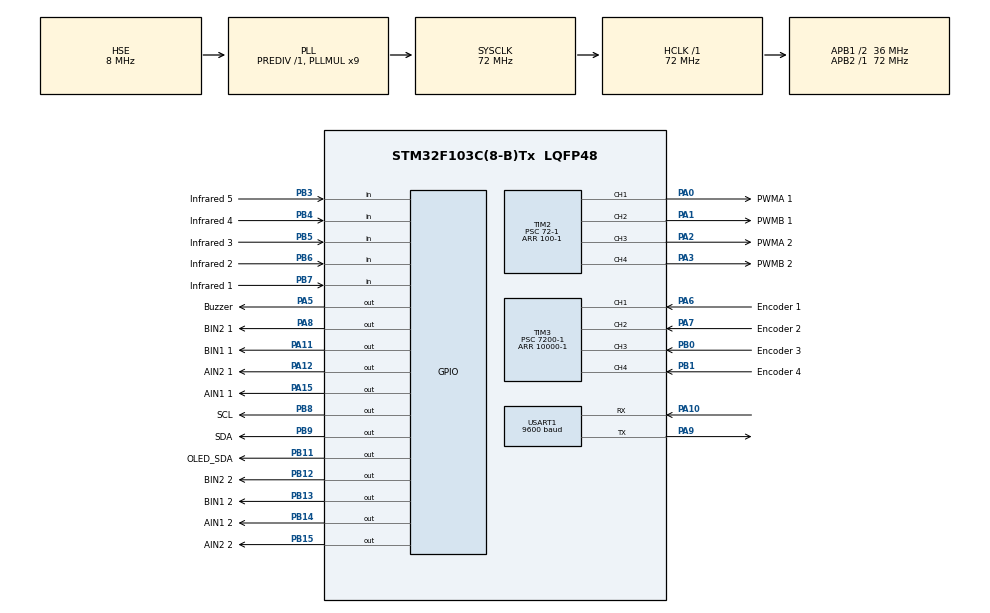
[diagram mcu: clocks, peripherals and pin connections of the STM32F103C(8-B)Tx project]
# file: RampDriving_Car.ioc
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Mcu.Family=STM32F1
Mcu.Name=STM32F103C(8-B)Tx
Mcu.Package=LQFP48
NVIC.PriorityGroup=NVIC_PRIORITYGROUP_4
NVIC.TIM3_IRQn=true\:0\:0\:false\:false\:true\:true\:true\:true
NVIC.USART1_IRQn=true\:0\:0\:false\:false\:true\:true\:true\:true
PA0-WKUP.GPIO_Label=PWMA 1
PA0-WKUP.Signal=S_TIM2_CH1_ETR
PA1.GPIO_Label=PWMB 1
PA1.Signal=S_TIM2_CH2
PA10.Mode=Asynchronous
PA10.Signal=USART1_RX
PA11.GPIO_Label=BIN1 1
PA11.Signal=GPIO_Output
PA12.GPIO_Label=AIN2 1
PA12.Signal=GPIO_Output
PA13.Mode=Serial_Wire
PA13.Signal=SYS_JTMS-SWDIO
PA14.Mode=Serial_Wire
PA14.Signal=SYS_JTCK-SWCLK
PA15.GPIO_Label=AIN1 1
PA15.Signal=GPIO_Output
PA2.GPIO_Label=PWMA 2
PA2.Signal=S_TIM2_CH3
PA3.GPIO_Label=PWMB 2
PA3.Signal=S_TIM2_CH4
PA5.GPIO_Label=Buzzer
PA5.Signal=GPIO_Output
PA6.GPIO_Label=Encoder 1
PA6.Signal=S_TIM3_CH1
PA7.GPIO_Label=Encoder 2
PA7.Signal=S_TIM3_CH2
PA8.GPIO_Label=BIN2 1
PA8.Signal=GPIO_Output
PA9.Mode=Asynchronous
PA9.Signal=USART1_TX
PB0.GPIO_Label=Encoder 3
PB0.Signal=S_TIM3_CH3
PB1.GPIO_Label=Encoder 4
PB1.Signal=S_TIM3_CH4
PB11.GPIO_Label=OLED_SDA
PB11.GPIO_ModeDefaultOutputPP=GPIO_MODE_OUTPUT_OD
PB11.GPIO_PuPd=GPIO_NOPULL
PB11.Signal=GPIO_Output
PB12.GPIO_Label=BIN2 2
PB12.Signal=GPIO_Output
PB13.GPIO_Label=BIN1 2
PB13.Signal=GPIO_Output
PB14.GPIO_Label=AIN1 2
PB14.Signal=GPIO_Output
PB15.GPIO_Label=AIN2 2
PB15.Signal=GPIO_Output
PB3.GPIO_Label=Infrared 5
PB3.GPIO_Mode=GPIO_MODE_INPUT
PB3.Signal=GPIO_Input
PB4.GPIO_Label=Infrared 4
PB4.GPIO_Mode=GPIO_MODE_INPUT
PB4.Signal=GPIO_Input
PB5.GPIO_Label=Infrared 3
PB5.GPIO_Mode=GPIO_MODE_INPUT
PB5.Signal=GPIO_Input
PB6.GPIO_Label=Infrared 2
PB6.GPIO_Mode=GPIO_MODE_INPUT
PB6.Signal=GPIO_Input
PB7.GPIO_Label=Infrared 1
PB7.GPIO_Mode=GPIO_MODE_INPUT
PB7.Signal=GPIO_Input
PB8.GPIO_Label=SCL
PB8.GPIO_ModeDefaultOutputPP=GPIO_MODE_OUTPUT_OD
PB8.GPIO_PuPd=GPIO_NOPULL
PB8.Signal=GPIO_Output
PB9.GPIO_Label=SDA
PB9.GPIO_ModeDefaultOutputPP=GPIO_MODE_OUTPUT_OD
PB9.GPIO_PuPd=GPIO_NOPULL
PB9.Signal=GPIO_Output
PD0-OSC_IN.Mode=HSE-External-Oscillator
PD0-OSC_IN.Signal=RCC_OSC_IN
PD1-OSC_OUT.Mode=HSE-External-Oscillator
PD1-OSC_OUT.Signal=RCC_OSC_OUT
ProjectManager.HeapSize=0x200
ProjectManager.StackSize=0x400
ProjectManager.TargetToolchain=MDK-ARM V5.32
RCC.AHBFreq_Value=72000000
RCC.APB1CLKDivider=RCC_HCLK_DIV2
RCC.APB1Freq_Value=36000000
RCC.APB1TimFreq_Value=72000000
RCC.APB2Freq_Value=72000000
RCC.APB2TimFreq_Value=72000000
RCC.HCLKFreq_Value=72000000
RCC.PLLMUL=RCC_PLL_MUL9
RCC.PLLSourceVirtual=RCC_PLLSOURCE_HSE
RCC.SYSCLKFreq_VALUE=72000000
RCC.SYSCLKSource=RCC_SYSCLKSOURCE_PLLCLK
RCC.USBFreq_Value=72000000
SH.S_TIM2_CH1_ETR.0=TIM2_CH1,PWM Generation1 CH1
SH.S_TIM2_CH2.0=TIM2_CH2,PWM Generation2 CH2
SH.S_TIM2_CH3.0=TIM2_CH3,PWM Generation3 CH3
SH.S_TIM2_CH4.0=TIM2_CH4,PWM Generation4 CH4
SH.S_TIM3_CH1.0=TIM3_CH1,Input_Capture1_from_TI1
SH.S_TIM3_CH2.0=TIM3_CH2,Input_Capture2_from_TI2
SH.S_TIM3_CH3.0=TIM3_CH3,Input_Capture3_from_TI3
SH.S_TIM3_CH4.0=TIM3_CH4,Input_Capture4_from_TI4
TIM2.Channel-PWM\ Generation1\ CH1=TIM_CHANNEL_1
TIM2.Channel-PWM\ Generation2\ CH2=TIM_CHANNEL_2
TIM2.Channel-PWM\ Generation3\ CH3=TIM_CHANNEL_3
TIM2.Channel-PWM\ Generation4\ CH4=TIM_CHANNEL_4
TIM2.Period=100-1
TIM2.Prescaler=72-1
TIM3.Channel-Input_Capture1_from_TI1=TIM_CHANNEL_1
TIM3.Channel-Input_Capture2_from_TI2=TIM_CHANNEL_2
TIM3.Channel-Input_Capture3_from_TI3=TIM_CHANNEL_3
TIM3.Channel-Input_Capture4_from_TI4=TIM_CHANNEL_4
TIM3.Period=10000-1
TIM3.Prescaler=7200-1
USART1.BaudRate=9600
USART1.VirtualMode=VM_ASYNC
VP_TIM2_VS_ClockSourceINT.Mode=Internal
VP_TIM3_VS_ClockSourceINT.Mode=Internal
board=custom

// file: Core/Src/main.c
/* USER CODE BEGIN Header */
/**
  ******************************************************************************
  * @file           : main.c
  * @brief          : Main program body
  ******************************************************************************
  * @attention
  *
  * Copyright (c) 2024 STMicroelectronics.
  * All rights reserved.
  *
  * This software is licensed under terms that can be found in the LICENSE file
  * in the root directory of this software component.
  * If no LICENSE file comes with this software, it is provided AS-IS.
  *
  ******************************************************************************
  */
/* USER CODE END Header */
#include "main.h"
#include "tim.h"
#include "usart.h"
#include "gpio.h"

void SystemClock_Config(void);
/* USER CODE BEGIN PFP */
void Car_Ctrl(uint8_t Car_State);
void Car_Trailing(void);

/* USER CODE END PFP */

int main(void)
{

  /* MCU Configuration--------------------------------------------------------*/

  /* Reset of all peripherals, Initializes the Flash interface and the Systick. */
  HAL_Init();

  /* Configure the system clock */
  SystemClock_Config();

  /* Initialize all configured peripherals */
  MX_GPIO_Init();
  MX_TIM2_Init();
  MX_TIM3_Init();
  MX_USART1_UART_Init();
  /* USER CODE BEGIN 2 */
	OLED_Init();
	HC06_Init();
	Car_Init();
	Encoder_Init();
	Tim_Init();
  /* USER CODE END 2 */

  /* Infinite loop */
  /* USER CODE BEGIN WHILE */
  while (1)
  {
		if (Ctrl_State)
		{
			OLED_Printf(0, 0, 8, "Ctrl_State: Open");
		}
		else
		{
			OLED_Printf(0, 0, 8, "Ctrl_State: Off");
		}
		OLED_Printf(0, 16, 8, "L: %-6.2f L:%-4d", L_Speed, Encoder_Count_L1);
		OLED_Printf(0, 32, 8, "R: %-6.2f R:%-4d", R_Speed, Encoder_Count_R1);
		OLED_Update();

//		Car_Ctrl(Car_State);
		if (Ctrl_State)
		{
			Car_Trailing();
		}
		else
		{
			Car_Forward(0);
		}
    /* USER CODE END WHILE */

  }
}

void SystemClock_Config(void)
{
  RCC_OscInitTypeDef RCC_OscInitStruct = {0};
  RCC_ClkInitTypeDef RCC_ClkInitStruct = {0};

  /** Initializes the RCC Oscillators according to the specified parameters
  * in the RCC_OscInitTypeDef structure.
  */
  RCC_OscInitStruct.OscillatorType = RCC_OSCILLATORTYPE_HSE;
  RCC_OscInitStruct.HSEState = RCC_HSE_ON;
  RCC_OscInitStruct.HSEPredivValue = RCC_HSE_PREDIV_DIV1;
  RCC_OscInitStruct.HSIState = RCC_HSI_ON;
  RCC_OscInitStruct.PLL.PLLState = RCC_PLL_ON;
  RCC_OscInitStruct.PLL.PLLSource = RCC_PLLSOURCE_HSE;
  RCC_OscInitStruct.PLL.PLLMUL = RCC_PLL_MUL9;
  if (HAL_RCC_OscConfig(&RCC_OscInitStruct) != HAL_OK)
  {
    Error_Handler();
  }

  /** Initializes the CPU, AHB and APB buses clocks
  */
  RCC_ClkInitStruct.ClockType = RCC_CLOCKTYPE_HCLK|RCC_CLOCKTYPE_SYSCLK
                              |RCC_CLOCKTYPE_PCLK1|RCC_CLOCKTYPE_PCLK2;
  RCC_ClkInitStruct.SYSCLKSource = RCC_SYSCLKSOURCE_PLLCLK;
  RCC_ClkInitStruct.AHBCLKDivider = RCC_SYSCLK_DIV1;
  RCC_ClkInitStruct.APB1CLKDivider = RCC_HCLK_DIV2;
  RCC_ClkInitStruct.APB2CLKDivider = RCC_HCLK_DIV1;

  if (HAL_RCC_ClockConfig(&RCC_ClkInitStruct, FLASH_LATENCY_2) != HAL_OK)
  {
    Error_Handler();
  }
}

/* USER CODE BEGIN 4 */
/**
  * @brief  小车控制函数
  * @param  Car_State 输入的小车状�?
  * @retval �?
  */
void Car_Ctrl(uint8_t Car_State)
{
	if (Car_State == 'Q')
		{
			Car_Forward(Speed);
		}
		else if (Car_State == 'H')
		{
			Car_Backwards(Speed);
		}
		else if (Car_State == 'Z')
		{
			Car_Left(Speed);
		}
		else if (Car_State == 'Y')
		{
			Car_Right(Speed);
		}
		else
		{
			Car_Stop();
		}
}

/**
  * @brief  小车寻迹函数
  * @param  �?
  * @retval �?
  */
void Car_Trailing(void)
{
	uint8_t* State;
	State = Infrared_Judge();		//识别到了黑线返回0，识别不到黑线返�?1

	if (!(State[0] & State[1]))		//中间和右边识别到�?
	{
		if (State[1])
		{
			Car_Left(30);
			return;
		}
		Car_Left(10);
		return;
	}
	else if (!(State[3] & State[4]))		//中间和左边识别到�?
	{
		if (State[3])
		{
			Car_Right(30);
			return;
		}
		Car_Right(10);
		return;
	}
	else if (!(State[0] & State[1] & State[2] & State[3] & State[4]))
	{
		Car_Forward(0);
	}

	Car_Forward(20);
}

/* USER CODE END 4 */

void Error_Handler(void)
{
  __disable_irq();
  while (1)
  {
  }
}
